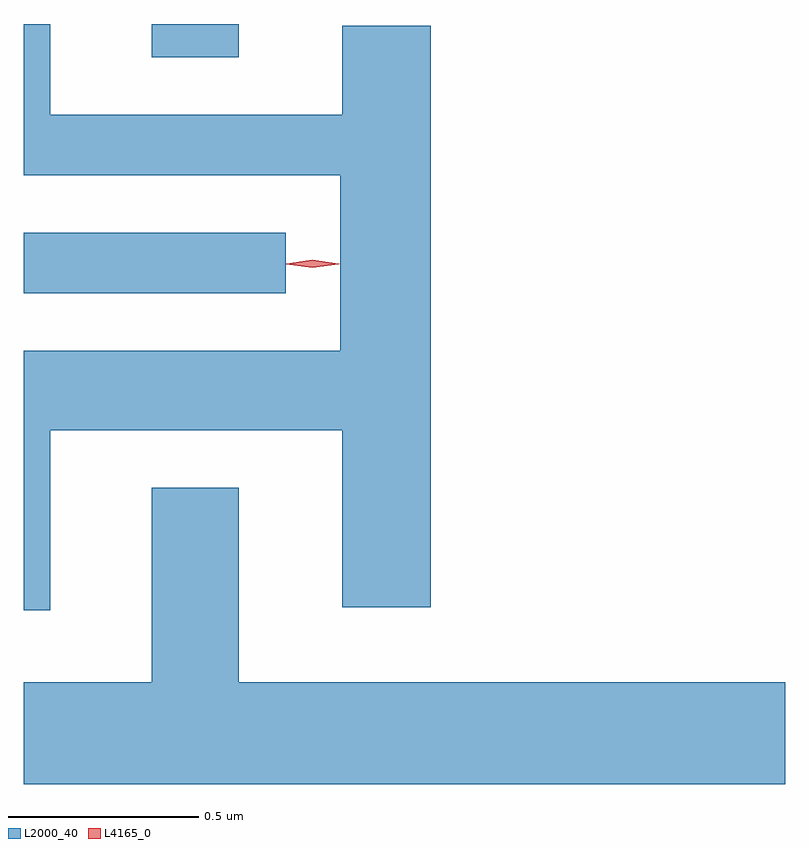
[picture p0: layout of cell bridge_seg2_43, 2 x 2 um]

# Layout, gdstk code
import gdstk
lib = gdstk.Library(unit=1e-6, precision=1e-09)
def R(c, l, rs):  # rectangles x0, y0, x1, y1
    for r in rs: c.add(gdstk.rectangle(r[:2], r[2:], *l))
def P(c, l, *ps):  # polygons
    for p in ps: c.add(gdstk.Polygon(p, *l))
L2000_40 = (2000, 40)
L4165_0 = (4165, 0)

bridge_seg2_43 = lib.new_cell('bridge_seg2_43')
R(bridge_seg2_43, L2000_40, [(1275.955,1054.046,1276.643,1054.204), (1276.291,1054.666,1276.519,1054.753)])
P(bridge_seg2_43, L2000_40, [(1276.024,1053.686),(1276.791,1053.686),(1276.791,1053.221),(1277.024,1053.221),(1277.024,1054.749),(1276.791,1054.749),(1276.791,1054.514),(1276.024,1054.514),(1276.024,1054.753),(1275.955,1054.753),(1275.955,1054.356),(1276.786,1054.356),(1276.786,1053.894),(1275.955,1053.894),(1275.955,1053.213),(1276.024,1053.213)],
  [(1277.955,1053.024),(1276.519,1053.024),(1276.519,1053.534),(1276.291,1053.534),(1276.291,1053.024),(1275.955,1053.024),(1275.955,1052.756),(1277.955,1052.756)])
P(bridge_seg2_43, L4165_0, [(1276.713,1054.113),(1276.644,1054.122),(1276.644,1054.123),(1276.644,1054.123),(1276.713,1054.133),(1276.782,1054.123),(1276.783,1054.123),(1276.782,1054.122)],
  [(1276.713,1054.113),(1276.648,1054.122),(1276.647,1054.123),(1276.648,1054.123),(1276.713,1054.133),(1276.779,1054.123),(1276.78,1054.123),(1276.779,1054.122)])

lib.write_gds('bridge_seg2_43.gds')
